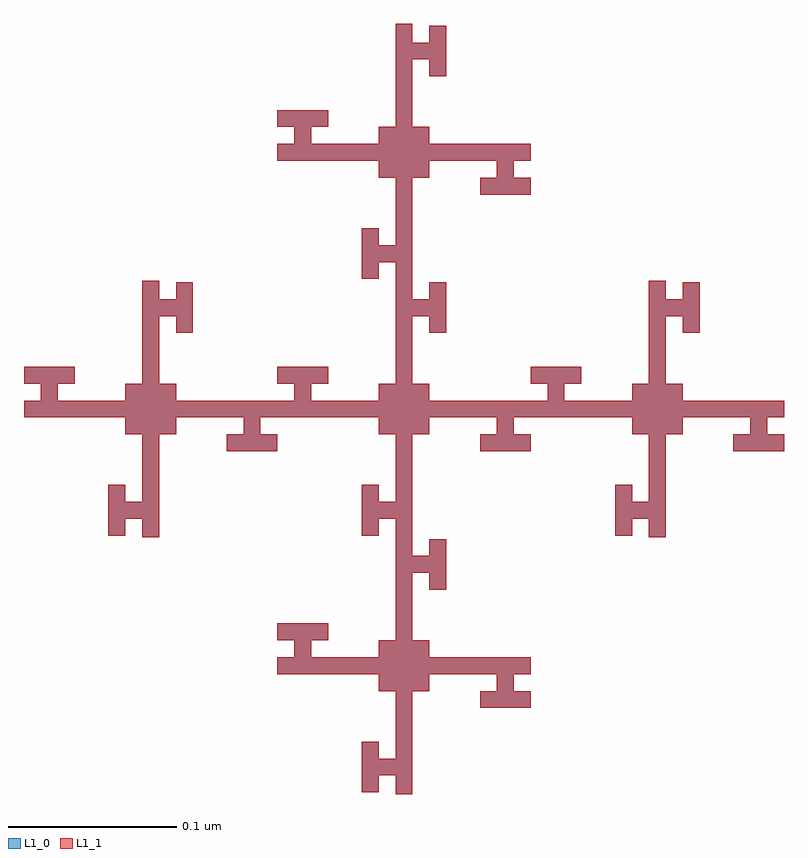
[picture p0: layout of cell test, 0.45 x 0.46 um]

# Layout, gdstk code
import gdstk
lib = gdstk.Library(unit=1e-6, precision=1e-09)
def P(c, l, *ps):  # polygons
    for p in ps: c.add(gdstk.Polygon(p, *l))
L1_0 = (1, 0)
L1_1 = (1, 1)

test = lib.new_cell('test')
P(test, L1_0, [(-0.21,0.01),(-0.21,0.02),(-0.2,0.02),(-0.2,0.03),(-0.21,0.03),(-0.21,0.04),(-0.18,0.04),(-0.18,0.03),(-0.19,0.03),(-0.19,0.02),(-0.15,0.02),(-0.15,0.03),(-0.14,0.03),(-0.14,0.091),(-0.13,0.091),(-0.13,0.08),(-0.12,0.08),(-0.12,0.09),(-0.11,0.09),(-0.11,0.06),(-0.12,0.06),(-0.12,0.07),(-0.13,0.07),(-0.13,0.03),(-0.12,0.03),(-0.12,0.02),(-0.05,0.02),(-0.05,0.03),(-0.06,0.03),(-0.06,0.04),(-0.03,0.04),(-0.03,0.03),(-0.04,0.03),(-0.04,0.02),(0,0.02),(0,0.03),(0.01,0.03),(0.01,0.102),(0,0.102),(0,0.092),(-0.01,0.092),(-0.01,0.122),(0,0.122),(0,0.112),(0.01,0.112),(0.01,0.152),(0,0.152),(0,0.162),(-0.06,0.162),(-0.06,0.172),(-0.05,0.172),(-0.05,0.182),(-0.06,0.182),(-0.06,0.192),(-0.03,0.192),(-0.03,0.182),(-0.04,0.182),(-0.04,0.172),(0,0.172),(0,0.182),(0.01,0.182),(0.01,0.243),(0.02,0.243),(0.02,0.232),(0.03,0.232),(0.03,0.242),(0.04,0.242),(0.04,0.212),(0.03,0.212),(0.03,0.222),(0.02,0.222),(0.02,0.182),(0.03,0.182),(0.03,0.172),(0.09,0.172),(0.09,0.162),(0.08,0.162),(0.08,0.152),(0.09,0.152),(0.09,0.142),(0.06,0.142),(0.06,0.152),(0.07,0.152),(0.07,0.162),(0.03,0.162),(0.03,0.152),(0.02,0.152),(0.02,0.08),(0.03,0.08),(0.03,0.09),(0.04,0.09),(0.04,0.06),(0.03,0.06),(0.03,0.07),(0.02,0.07),(0.02,0.03),(0.03,0.03),(0.03,0.02),(0.1,0.02),(0.1,0.03),(0.09,0.03),(0.09,0.04),(0.12,0.04),(0.12,0.03),(0.11,0.03),(0.11,0.02),(0.15,0.02),(0.15,0.03),(0.16,0.03),(0.16,0.091),(0.17,0.091),(0.17,0.08),(0.18,0.08),(0.18,0.09),(0.19,0.09),(0.19,0.06),(0.18,0.06),(0.18,0.07),(0.17,0.07),(0.17,0.03),(0.18,0.03),(0.18,0.02),(0.24,0.02),(0.24,0.01),(0.23,0.01),(0.23,0),(0.24,0),(0.24,-0.01),(0.21,-0.01),(0.21,0),(0.22,0),(0.22,0.01),(0.18,0.01),(0.18,0),(0.17,0),(0.17,-0.061),(0.16,-0.061),(0.16,-0.05),(0.15,-0.05),(0.15,-0.06),(0.14,-0.06),(0.14,-0.03),(0.15,-0.03),(0.15,-0.04),(0.16,-0.04),(0.16,0),(0.15,0),(0.15,0.01),(0.08,0.01),(0.08,0),(0.09,0),(0.09,-0.01),(0.06,-0.01),(0.06,0),(0.07,0),(0.07,0.01),(0.03,0.01),(0.03,0),(0.02,0),(0.02,-0.072),(0.03,-0.072),(0.03,-0.062),(0.04,-0.062),(0.04,-0.092),(0.03,-0.092),(0.03,-0.082),(0.02,-0.082),(0.02,-0.122),(0.03,-0.122),(0.03,-0.132),(0.09,-0.132),(0.09,-0.142),(0.08,-0.142),(0.08,-0.152),(0.09,-0.152),(0.09,-0.162),(0.06,-0.162),(0.06,-0.152),(0.07,-0.152),(0.07,-0.142),(0.03,-0.142),(0.03,-0.152),(0.02,-0.152),(0.02,-0.213),(0.01,-0.213),(0.01,-0.213),(0.01,-0.202),(0,-0.202),(0,-0.212),(-0.01,-0.212),(-0.01,-0.182),(0,-0.182),(0,-0.192),(0.01,-0.192),(0.01,-0.152),(0,-0.152),(0,-0.142),(-0.06,-0.142),(-0.06,-0.132),(-0.05,-0.132),(-0.05,-0.122),(-0.06,-0.122),(-0.06,-0.112),(-0.03,-0.112),(-0.03,-0.122),(-0.04,-0.122),(-0.04,-0.132),(0,-0.132),(0,-0.122),(0.01,-0.122),(0.01,-0.05),(0,-0.05),(0,-0.06),(-0.01,-0.06),(-0.01,-0.03),(0,-0.03),(0,-0.04),(0.01,-0.04),(0.01,0),(0,0),(0,0.01),(-0.07,0.01),(-0.07,0),(-0.06,0),(-0.06,-0.01),(-0.09,-0.01),(-0.09,0),(-0.08,0),(-0.08,0.01),(-0.12,0.01),(-0.12,0),(-0.13,0),(-0.13,-0.061),(-0.14,-0.061),(-0.14,-0.05),(-0.15,-0.05),(-0.15,-0.06),(-0.16,-0.06),(-0.16,-0.03),(-0.15,-0.03),(-0.15,-0.04),(-0.14,-0.04),(-0.14,0),(-0.15,0),(-0.15,0.01),(-0.21,0.01)])
P(test, L1_1, [(-0.21,0.03),(-0.21,0.04),(-0.2,0.04),(-0.2,0.03),(-0.21,0.03),(-0.21,0.03)],
  [(-0.21,0.01),(-0.21,0.02),(-0.2,0.02),(-0.2,0.01),(-0.21,0.01),(-0.21,0.01)],
  [(-0.14,0.04),(-0.14,0.091),(-0.13,0.091),(-0.13,0.04),(-0.14,0.04),(-0.14,0.04)],
  [(-0.06,0.182),(-0.06,0.192),(-0.05,0.192),(-0.05,0.182),(-0.06,0.182),(-0.06,0.182)],
  [(-0.12,0.06),(-0.12,0.09),(-0.11,0.09),(-0.11,0.06),(-0.12,0.06),(-0.12,0.06)],
  [(-0.13,0.07),(-0.13,0.08),(-0.12,0.08),(-0.12,0.07),(-0.13,0.07),(-0.13,0.07)],
  [(-0.06,0.162),(-0.06,0.172),(-0.05,0.172),(-0.05,0.162),(-0.06,0.162),(-0.06,0.162)],
  [(0.16,0.04),(0.16,0.091),(0.17,0.091),(0.17,0.04),(0.16,0.04),(0.16,0.04)],
  [(-0.14,0.03),(-0.14,0.04),(-0.13,0.04),(-0.13,0.03),(-0.14,0.03),(-0.14,0.03)],
  [(0.18,0.06),(0.18,0.09),(0.19,0.09),(0.19,0.06),(0.18,0.06),(0.18,0.06)],
  [(0.17,0.07),(0.17,0.08),(0.18,0.08),(0.18,0.07),(0.17,0.07),(0.17,0.07)],
  [(-0.06,0.03),(-0.06,0.04),(-0.03,0.04),(-0.03,0.03),(-0.06,0.03),(-0.06,0.03)],
  [(0.01,0.192),(0.01,0.243),(0.02,0.243),(0.02,0.192),(0.01,0.192),(0.01,0.192)],
  [(0.01,0.182),(0.01,0.192),(0.02,0.192),(0.02,0.182),(0.01,0.182),(0.01,0.182)],
  [(0.01,0.03),(0.01,0.04),(0.02,0.04),(0.02,0.03),(0.01,0.03),(0.01,0.03)],
  [(0.03,0.212),(0.03,0.242),(0.04,0.242),(0.04,0.212),(0.03,0.212),(0.03,0.212)],
  [(0.02,0.222),(0.02,0.232),(0.03,0.232),(0.03,0.222),(0.02,0.222),(0.02,0.222)],
  [(0.09,0.03),(0.09,0.04),(0.12,0.04),(0.12,0.03),(0.09,0.03),(0.09,0.03)],
  [(-0.05,0.162),(-0.05,0.192),(-0.04,0.192),(-0.04,0.162),(-0.05,0.162),(-0.05,0.162)],
  [(-0.04,0.182),(-0.04,0.192),(-0.03,0.192),(-0.03,0.182),(-0.04,0.182),(-0.04,0.182)],
  [(-0.04,0.162),(-0.04,0.172),(0,0.172),(0,0.162),(-0.04,0.162),(-0.04,0.162)],
  [(0.16,0.03),(0.16,0.04),(0.17,0.04),(0.17,0.03),(0.16,0.03),(0.16,0.03)],
  [(-0.01,0.092),(-0.01,0.122),(0,0.122),(0,0.092),(-0.01,0.092),(-0.01,0.092)],
  [(-0.2,0.01),(-0.2,0.04),(-0.19,0.04),(-0.19,0.01),(-0.2,0.01),(-0.2,0.01)],
  [(-0.19,0.03),(-0.19,0.04),(-0.18,0.04),(-0.18,0.03),(-0.19,0.03),(-0.19,0.03)],
  [(-0.19,0.01),(-0.19,0.02),(-0.15,0.02),(-0.15,0.01),(-0.19,0.01),(-0.19,0.01)],
  [(0.02,0.152),(0.02,0.182),(0.03,0.182),(0.03,0.152),(0.02,0.152),(0.02,0.152)],
  [(0.08,0.142),(0.08,0.152),(0.09,0.152),(0.09,0.142),(0.08,0.142),(0.08,0.142)],
  [(0,0.102),(0,0.112),(0.01,0.112),(0.01,0.102),(0,0.102),(0,0.102)],
  [(0,0.152),(0,0.182),(0.01,0.182),(0.01,0.152),(0,0.152),(0,0.152)],
  [(0.01,0.122),(0.01,0.182),(0.02,0.182),(0.02,0.122),(0.01,0.122),(0.01,0.122)],
  [(0.08,0.162),(0.08,0.172),(0.09,0.172),(0.09,0.162),(0.08,0.162),(0.08,0.162)],
  [(0.01,0.04),(0.01,0.122),(0.02,0.122),(0.02,0.04),(0.01,0.04),(0.01,0.04)],
  [(-0.16,-0.06),(-0.16,-0.03),(-0.15,-0.03),(-0.15,-0.06),(-0.16,-0.06),(-0.16,-0.06)],
  [(0.03,0.162),(0.03,0.172),(0.07,0.172),(0.07,0.162),(0.03,0.162),(0.03,0.162)],
  [(0.03,0.06),(0.03,0.09),(0.04,0.09),(0.04,0.06),(0.03,0.06),(0.03,0.06)],
  [(0.02,0.07),(0.02,0.08),(0.03,0.08),(0.03,0.07),(0.02,0.07),(0.02,0.07)],
  [(-0.13,0),(-0.13,0.03),(-0.12,0.03),(-0.12,0),(-0.13,0),(-0.13,0)],
  [(-0.14,-0.061),(-0.14,-0.03),(-0.13,-0.03),(-0.13,-0.061),(-0.14,-0.061),(-0.14,-0.061)],
  [(-0.15,-0.05),(-0.15,-0.04),(-0.14,-0.04),(-0.14,-0.05),(-0.15,-0.05),(-0.15,-0.05)],
  [(0.07,0.142),(0.07,0.172),(0.08,0.172),(0.08,0.142),(0.07,0.142),(0.07,0.142)],
  [(0.06,0.142),(0.06,0.152),(0.07,0.152),(0.07,0.142),(0.06,0.142),(0.06,0.142)],
  [(-0.06,-0.122),(-0.06,-0.112),(-0.05,-0.112),(-0.05,-0.122),(-0.06,-0.122),(-0.06,-0.122)],
  [(-0.07,-0.01),(-0.07,0),(-0.06,0),(-0.06,-0.01),(-0.07,-0.01),(-0.07,-0.01)],
  [(-0.15,0),(-0.15,0.03),(-0.14,0.03),(-0.14,0),(-0.15,0),(-0.15,0)],
  [(-0.14,-0.03),(-0.14,0.03),(-0.13,0.03),(-0.13,-0.03),(-0.14,-0.03),(-0.14,-0.03)],
  [(-0.06,-0.142),(-0.06,-0.132),(-0.05,-0.132),(-0.05,-0.142),(-0.06,-0.142),(-0.06,-0.142)],
  [(-0.07,0.01),(-0.07,0.02),(-0.05,0.02),(-0.05,0.01),(-0.07,0.01),(-0.07,0.01)],
  [(-0.12,0.01),(-0.12,0.02),(-0.08,0.02),(-0.08,0.01),(-0.12,0.01),(-0.12,0.01)],
  [(-0.05,0.01),(-0.05,0.03),(-0.04,0.03),(-0.04,0.01),(-0.05,0.01),(-0.05,0.01)],
  [(0.01,-0.122),(0.01,-0.112),(0.02,-0.112),(0.02,-0.122),(0.01,-0.122),(0.01,-0.122)],
  [(-0.08,-0.01),(-0.08,0.02),(-0.07,0.02),(-0.07,-0.01),(-0.08,-0.01),(-0.08,-0.01)],
  [(-0.09,-0.01),(-0.09,0),(-0.08,0),(-0.08,-0.01),(-0.09,-0.01),(-0.09,-0.01)],
  [(-0.04,0.01),(-0.04,0.02),(0,0.02),(0,0.01),(-0.04,0.01),(-0.04,0.01)],
  [(-0.05,-0.142),(-0.05,-0.112),(-0.04,-0.112),(-0.04,-0.142),(-0.05,-0.142),(-0.05,-0.142)],
  [(-0.04,-0.122),(-0.04,-0.112),(-0.03,-0.112),(-0.03,-0.122),(-0.04,-0.122),(-0.04,-0.122)],
  [(-0.04,-0.142),(-0.04,-0.132),(0,-0.132),(0,-0.142),(-0.04,-0.142),(-0.04,-0.142)],
  [(-0.01,-0.06),(-0.01,-0.03),(0,-0.03),(0,-0.06),(-0.01,-0.06),(-0.01,-0.06)],
  [(0.02,0),(0.02,0.03),(0.03,0.03),(0.03,0),(0.02,0),(0.02,0)],
  [(0,-0.05),(0,-0.04),(0.01,-0.04),(0.01,-0.05),(0,-0.05),(0,-0.05)],
  [(-0.01,-0.212),(-0.01,-0.182),(0,-0.182),(0,-0.212),(-0.01,-0.212),(-0.01,-0.212)],
  [(0.1,0.01),(0.1,0.03),(0.11,0.03),(0.11,0.01),(0.1,0.01),(0.1,0.01)],
  [(0.08,-0.01),(0.08,0),(0.09,0),(0.09,-0.01),(0.08,-0.01),(0.08,-0.01)],
  [(0,0),(0,0.03),(0.01,0.03),(0.01,0),(0,0),(0,0)],
  [(0.01,-0.03),(0.01,0.03),(0.02,0.03),(0.02,-0.03),(0.01,-0.03),(0.01,-0.03)],
  [(0.01,-0.112),(0.01,-0.03),(0.02,-0.03),(0.02,-0.112),(0.01,-0.112),(0.01,-0.112)],
  [(0.02,-0.152),(0.02,-0.122),(0.03,-0.122),(0.03,-0.152),(0.02,-0.152),(0.02,-0.152)],
  [(0.08,-0.162),(0.08,-0.152),(0.09,-0.152),(0.09,-0.162),(0.08,-0.162),(0.08,-0.162)],
  [(0.01,-0.213),(0.01,-0.182),(0.02,-0.182),(0.02,-0.213),(0.01,-0.213),(0.01,-0.213)],
  [(0,-0.202),(0,-0.192),(0.01,-0.192),(0.01,-0.202),(0,-0.202),(0,-0.202)],
  [(0.11,0.01),(0.11,0.02),(0.15,0.02),(0.15,0.01),(0.11,0.01),(0.11,0.01)],
  [(0.08,0.01),(0.08,0.02),(0.1,0.02),(0.1,0.01),(0.08,0.01),(0.08,0.01)],
  [(0.03,-0.092),(0.03,-0.062),(0.04,-0.062),(0.04,-0.092),(0.03,-0.092),(0.03,-0.092)],
  [(0.02,-0.082),(0.02,-0.072),(0.03,-0.072),(0.03,-0.082),(0.02,-0.082),(0.02,-0.082)],
  [(0,-0.152),(0,-0.122),(0.01,-0.122),(0.01,-0.152),(0,-0.152),(0,-0.152)],
  [(0.01,-0.182),(0.01,-0.122),(0.02,-0.122),(0.02,-0.182),(0.01,-0.182),(0.01,-0.182)],
  [(0.08,-0.142),(0.08,-0.132),(0.09,-0.132),(0.09,-0.142),(0.08,-0.142),(0.08,-0.142)],
  [(0.03,0.01),(0.03,0.02),(0.07,0.02),(0.07,0.01),(0.03,0.01),(0.03,0.01)],
  [(0.03,-0.142),(0.03,-0.132),(0.07,-0.132),(0.07,-0.142),(0.03,-0.142),(0.03,-0.142)],
  [(0.14,-0.06),(0.14,-0.03),(0.15,-0.03),(0.15,-0.06),(0.14,-0.06),(0.14,-0.06)],
  [(0.07,-0.01),(0.07,0.02),(0.08,0.02),(0.08,-0.01),(0.07,-0.01),(0.07,-0.01)],
  [(0.06,-0.01),(0.06,0),(0.07,0),(0.07,-0.01),(0.06,-0.01),(0.06,-0.01)],
  [(0.07,-0.162),(0.07,-0.132),(0.08,-0.132),(0.08,-0.162),(0.07,-0.162),(0.07,-0.162)],
  [(0.06,-0.162),(0.06,-0.152),(0.07,-0.152),(0.07,-0.162),(0.06,-0.162),(0.06,-0.162)],
  [(0.17,0),(0.17,0.03),(0.18,0.03),(0.18,0),(0.17,0),(0.17,0)],
  [(0.23,-0.01),(0.23,0),(0.24,0),(0.24,-0.01),(0.23,-0.01),(0.23,-0.01)],
  [(0.16,-0.061),(0.16,-0.03),(0.17,-0.03),(0.17,-0.061),(0.16,-0.061),(0.16,-0.061)],
  [(0.15,-0.05),(0.15,-0.04),(0.16,-0.04),(0.16,-0.05),(0.15,-0.05),(0.15,-0.05)],
  [(0.15,0),(0.15,0.03),(0.16,0.03),(0.16,0),(0.15,0),(0.15,0)],
  [(0.16,-0.03),(0.16,0.03),(0.17,0.03),(0.17,-0.03),(0.16,-0.03),(0.16,-0.03)],
  [(0.23,0.01),(0.23,0.02),(0.24,0.02),(0.24,0.01),(0.23,0.01),(0.23,0.01)],
  [(0.18,0.01),(0.18,0.02),(0.22,0.02),(0.22,0.01),(0.18,0.01),(0.18,0.01)],
  [(0.22,-0.01),(0.22,0.02),(0.23,0.02),(0.23,-0.01),(0.22,-0.01),(0.22,-0.01)],
  [(0.21,-0.01),(0.21,0),(0.22,0),(0.22,-0.01),(0.21,-0.01),(0.21,-0.01)])

lib.write_gds('test.gds')
